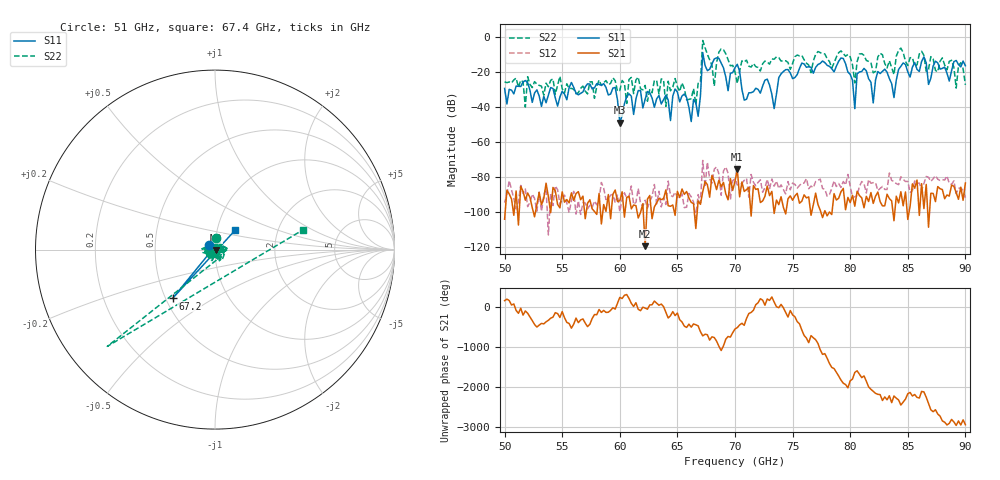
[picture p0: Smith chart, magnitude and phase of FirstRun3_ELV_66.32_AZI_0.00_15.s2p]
! 11/24/2026 3:34:03 PM
! C:\ANRITSUVNA\TEMP\TEMP.S2P
! CHANNEL.1
! TR.MEASUREMENT
! RAW.DATA
# HZ S RI R 50.0
! FREQ.HZ  S11RE  S11IM  S21RE  S21IM  S12RE  S12IM  S22RE  S22IM
!; PortSelection: Port_12
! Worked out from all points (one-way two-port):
!   201 points, 50 GHz to 90 GHz, reference 50 ohm
!   highest |S21| = -75.81 dB at 70.2 GHz (marker M1); lowest = -119.7 dB at 62.2 GHz (marker M2)
!   lowest |S11| = -49.0 dB at 60 GHz (marker M3), VSWR 1.01, Z = 50.3 - j0.155 ohm
!   |S11| at or under -10 dB: start of sweep to 67.19 GHz; 67.23 GHz to end of sweep
!   |S22| runs from -40.0 to -1.9 dB; largest |S21 - S12| = 0.00032
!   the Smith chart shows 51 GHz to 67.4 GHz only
!   S11 on the Smith chart (normalised r, x): 51 GHz: 0.94, +0.05; 67.2 GHz: 0.54, -0.34; 67.4 GHz: 1.22, +0.27
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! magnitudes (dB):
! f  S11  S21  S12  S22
! 50 GHz  -29.4  -104.3  -94.8  -25.6
! 51 GHz  -28.0  -88.1  -98.4  -23.4
! 56.8 GHz  -31.4  -91.1  -94.9  -28.0
! 59.6 GHz  -28.8  -87.6  -94.8  -25.0
! 60 GHz  -49.0  -93.7  -100.0  -30.5
! 62.2 GHz  -35.6  -119.7  -93.4  -27.6
! 63.4 GHz  -33.4  -92.4  -88.2  -32.6
! 66.8 GHz  -45.3  -93.8  -90.2  -26.5
! 67.2 GHz  -8.9  -88.5  -70.6  -1.9
! 67.4 GHz  -16.1  -82.8  -85.7  -5.9
! 68.2 GHz  -12.5  -82.7  -75.6  -28.0
! 68.8 GHz  -14.8  -85.7  -90.6  -6.7
! 70 GHz  -17.4  -82.5  -81.1  -19.9
! 70.2 GHz  -15.5  -75.8  -84.7  -26.5
! 73.4 GHz  -40.9  -101.0  -85.4  -12.6
! 74.2 GHz  -19.7  -97.5  -87.3  -13.5
! 76.8 GHz  -20.6  -95.9  -86.2  -13.6
! 79.4 GHz  -12.2  -86.6  -82.7  -9.4
! 80.4 GHz  -40.9  -96.8  -91.5  -26.2
! 80.6 GHz  -21.0  -88.3  -90.7  -14.0
! 83.4 GHz  -23.7  -92.4  -77.8  -13.5
! 90 GHz  -16.4  -83.5  -92.0  -27.3
